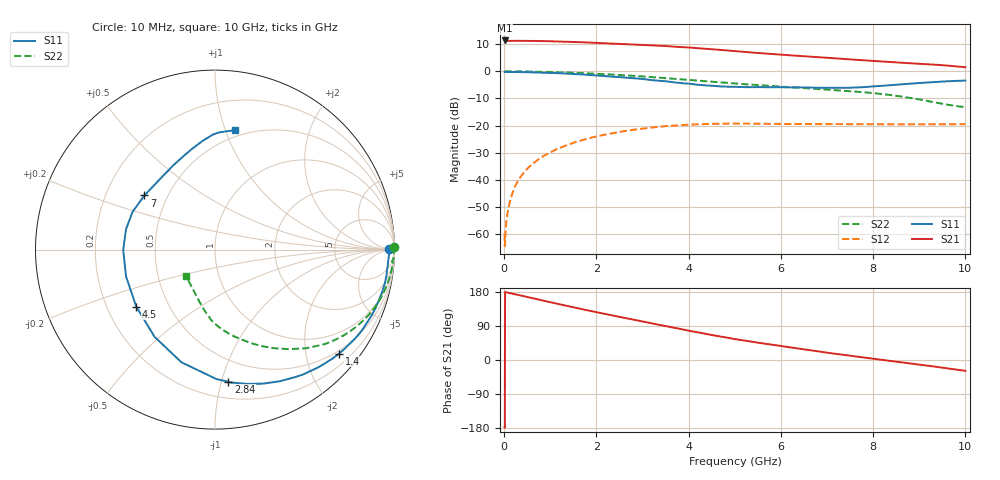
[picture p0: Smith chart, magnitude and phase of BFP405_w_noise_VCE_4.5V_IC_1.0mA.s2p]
! Infineon Technologies  Discrete & RF Semiconductors
! BFP405
! VCE =  4.5 V,  IC =  1.0 mA
! Common Emitter S-Parameters:  Jan 2016
# GHz  S  MA  R  50
!  f  S11  S21  S12  S22
! GHz  MAG  ANG  MAG  ANG  MAG  ANG  MAG  ANG
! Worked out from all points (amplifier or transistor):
!   233 points, 10 MHz to 10 GHz, reference 50 ohm
!   highest |S21| = 11.3 dB at 10 MHz (marker M1)
!   |S21| within 3 dB of that: start of sweep to 4.312 GHz
!   unconditionally stable (mu >= 1): 14.41 MHz to 15.64 MHz; 5.226 GHz to end of sweep
!   at 200 MHz: K = 0.09, MSG = 27.6 dB, |S12| = -44.0 dB
!   at 1.74 GHz: K = 0.20, MSG = 17.9 dB, |S12| = -25.1 dB
!   at 10 GHz: K = 1.99, MAG = 4.8 dB, |S12| = -19.5 dB
!   lowest NFmin = 0.74 dB at 900 MHz
!   S11 on the Smith chart (normalised r, x): 10 MHz: 70, +9; 1.4 GHz: 0.43, -2.69; 2.84 GHz: 0.32, -1.05; 4.5 GHz: 0.33, -0.29; 7 GHz: 0.37, +0.30; 10 GHz: 0.44, +1.08
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0.01  0.9721 0.2  3.692 -177.4  0.001 -37.6  1 0.7
0.015  0.9721 -0.1  3.66 -179.1  0.0006 -2.2  0.9969 0.5
0.02  0.9722 -0.4  3.631 179.1  0.0007 53.6  0.9938 0.3
0.03  0.9716 -0.8  3.625 179.0  0.0011 64.0  0.9951 0.1
0.06  0.97 -1.7  3.618 178.5  0.0021 74.6  0.9978 -0.6
0.155  0.9669 -4.2  3.63 175.9  0.0049 82.4  0.9958 -2.2
0.24  0.9648 -6.6  3.641 173.4  0.0077 83.6  0.989 -3.6
0.38  0.965 -10.6  3.632 169.7  0.0121 82.8  0.9912 -5.5
0.8  0.9474 -22.5  3.602 158.1  0.0257 77.3  0.9786 -11.6
1.4  0.9025 -39.9  3.493 141.8  0.0449 67.6  0.945 -20.2
1.68  0.8746 -48.1  3.424 134.4  0.0535 62.8  0.9245 -24.0
2.2  0.8171 -63.9  3.282 121.2  0.0684 54.0  0.8817 -30.8
2.84  0.7403 -84.3  3.104 105.6  0.0846 43.1  0.8206 -39.1
3.4  0.6632 -102.9  2.935 91.9  0.0956 33.4  0.7591 -45.9
4  0.5914 -124.7  2.744 77.4  0.104 23.7  0.6927 -53.2
4.5  0.5416 -144.1  2.555 65.9  0.1077 16.3  0.6413 -59.0
5.1  0.5131 -166.4  2.315 53.4  0.1087 8.6  0.587 -65.4
6  0.5088 167.2  2.02 36.9  0.1072 0.1  0.5214 -73.6
6.8  0.4964 147.7  1.817 23.0  0.1061 -5.0  0.4709 -81.1
7  0.4955 142.5  1.772 19.3  0.1059 -6.2  0.4588 -83.0
8.4  0.556 107.1  1.472 -2.9  0.1053 -13.2  0.3626 -97.1
10  0.6739 80.7  1.186 -28.7  0.1058 -18.0  0.218 -138.5
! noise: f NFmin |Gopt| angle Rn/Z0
0.9  0.74  0.71  15  0.57
1.8  1.18  0.58  32  0.51
2.4  1.45  0.48  44  0.46
3  1.56  0.48  58  0.43
4  1.81  0.35  86  0.3
5  2.13  0.33  122  0.21
